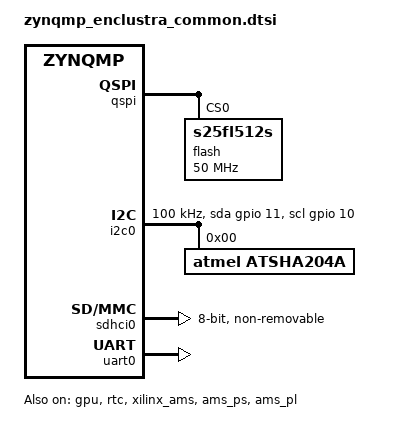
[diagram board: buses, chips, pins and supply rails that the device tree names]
#include <dt-bindings/gpio/gpio.h>

&gpu {
	status = "okay";
};

&rtc {
	status = "okay";
};

&fpd_dma_chan1 {
	status = "okay";
};

&fpd_dma_chan2 {
	status = "okay";
};

&fpd_dma_chan3 {
	status = "okay";
};

&fpd_dma_chan4 {
	status = "okay";
};

&fpd_dma_chan5 {
	status = "okay";
};

&fpd_dma_chan6 {
	status = "okay";
};

&fpd_dma_chan7 {
	status = "okay";
};

&fpd_dma_chan8 {
	status = "okay";
};

&gpio {
	status = "okay";
};

&qspi {
	is-dual = <0>;
	num-cs = <1>;
	flash@0 {
		#address-cells = <0x1>;
		#size-cells = <0x1>;
		compatible = "s25fl512s";
		reg = <0x0>;
		spi-tx-bus-width = <0x1>;
		spi-rx-bus-width = <0x4>;
		spi-max-frequency = <0x2faf080>;
	};
};

&i2c0 {
	status = "okay";
	clock-frequency = <100000>;
	scl-gpios = <&gpio 10 GPIO_ACTIVE_HIGH>;
	sda-gpios = <&gpio 11 GPIO_ACTIVE_HIGH>;
	atsha204a@64 {
		compatible = "atmel,atsha204a";
		reg = <0x0 0x64>;
	};
};

&sdhci0 {
	status = "okay";
	non-removable;
	disable-wp;
	xlnx,mio_bank = <0>;
	bus-width = <8>;
};

&uart0 {
	status = "okay";
};

&xilinx_ams {
	status = "okay";
};

&ams_ps {
	status = "okay";
};

&ams_pl {
	status = "okay";
};
